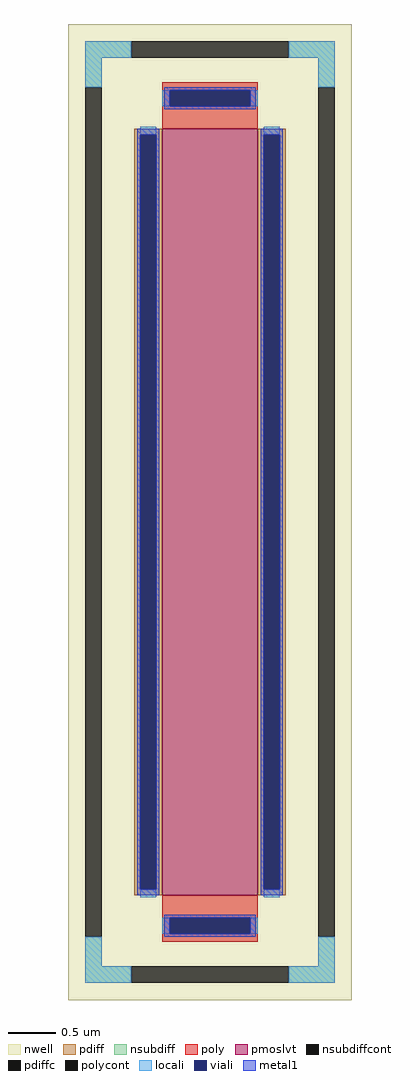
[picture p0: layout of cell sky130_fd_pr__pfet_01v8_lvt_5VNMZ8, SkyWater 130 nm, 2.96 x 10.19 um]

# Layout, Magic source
magic
tech sky130A
magscale 1 2
<< nwell >>
rect -296 -1019 296 1019
<< pmoslvt >>
rect -100 -800 100 800
<< pdiff >>
rect -158 788 -100 800
rect -158 -788 -146 788
rect -112 -788 -100 788
rect -158 -800 -100 -788
rect 100 788 158 800
rect 100 -788 112 788
rect 146 -788 158 788
rect 100 -800 158 -788
<< pdiffc >>
rect -146 -788 -112 788
rect 112 -788 146 788
<< nsubdiff >>
rect -260 949 -164 983
rect 164 949 260 983
rect -260 887 -226 949
rect 226 887 260 949
rect -260 -949 -226 -887
rect 226 -949 260 -887
rect -260 -983 -164 -949
rect 164 -983 260 -949
<< nsubdiffcont >>
rect -164 949 164 983
rect -260 -887 -226 887
rect 226 -887 260 887
rect -164 -983 164 -949
<< poly >>
rect -100 881 100 897
rect -100 847 -84 881
rect 84 847 100 881
rect -100 800 100 847
rect -100 -847 100 -800
rect -100 -881 -84 -847
rect 84 -881 100 -847
rect -100 -897 100 -881
<< polycont >>
rect -84 847 84 881
rect -84 -881 84 -847
<< locali >>
rect -260 949 -164 983
rect 164 949 260 983
rect -260 887 -226 949
rect 226 887 260 949
rect -100 847 -84 881
rect 84 847 100 881
rect -146 788 -112 804
rect -146 -804 -112 -788
rect 112 788 146 804
rect 112 -804 146 -788
rect -100 -881 -84 -847
rect 84 -881 100 -847
rect -260 -949 -226 -887
rect 226 -949 260 -887
rect -260 -983 -164 -949
rect 164 -983 260 -949
<< viali >>
rect -84 847 84 881
rect -146 -788 -112 788
rect 112 -788 146 788
rect -84 -881 84 -847
<< metal1 >>
rect -96 881 96 887
rect -96 847 -84 881
rect 84 847 96 881
rect -96 841 96 847
rect -152 788 -106 800
rect -152 -788 -146 788
rect -112 -788 -106 788
rect -152 -800 -106 -788
rect 106 788 152 800
rect 106 -788 112 788
rect 146 -788 152 788
rect 106 -800 152 -788
rect -96 -847 96 -841
rect -96 -881 -84 -847
rect 84 -881 96 -847
rect -96 -887 96 -881
<< properties >>
string FIXED_BBOX -243 -966 243 966
string gencell sky130_fd_pr__pfet_01v8_lvt
string library sky130
string parameters w 8.0 l 1.0 m 1 nf 1 diffcov 100 polycov 100 guard 1 glc 1 grc 1 gtc 1 gbc 1 tbcov 100 rlcov 100 topc 1 botc 1 poverlap 0 doverlap 1 lmin 0.35 wmin 0.42 compatible {sky130_fd_pr__pfet_01v8  sky130_fd_pr__pfet_01v8_lvt sky130_fd_pr__pfet_01v8_hvt  sky130_fd_pr__pfet_g5v0d10v5} full_metal 1 viasrc 100 viadrn 100 viagate 100 viagb 0 viagr 0 viagl 0 viagt 0
<< end >>
